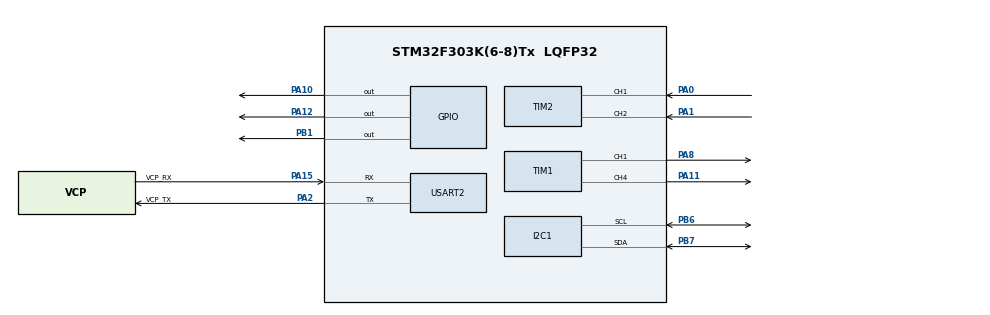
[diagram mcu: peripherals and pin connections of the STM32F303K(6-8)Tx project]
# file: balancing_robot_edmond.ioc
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I2C1.Timing=0x00201D2B
Mcu.Family=STM32F3
Mcu.Name=STM32F303K(6-8)Tx
Mcu.Package=LQFP32
NVIC.PriorityGroup=NVIC_PRIORITYGROUP_4
PA0.Signal=S_TIM2_CH1_ETR
PA1.Signal=S_TIM2_CH2
PA10.Signal=GPIO_Output
PA11.Signal=S_TIM1_CH4
PA12.Signal=GPIO_Output
PA13.GPIO_Label=SWDIO
PA13.Mode=Serial_Wire
PA13.Signal=SYS_JTMS-SWDIO
PA14.GPIO_Label=SWCLK
PA14.Mode=Serial_Wire
PA14.Signal=SYS_JTCK-SWCLK
PA15.GPIO_Label=VCP_RX
PA15.Mode=Asynchronous
PA15.Signal=USART2_RX
PA2.GPIO_Label=VCP_TX
PA2.Mode=Asynchronous
PA2.Signal=USART2_TX
PA8.Signal=S_TIM1_CH1
PB1.Signal=GPIO_Output
PB6.GPIO_Pu=GPIO_PULLUP
PB6.Mode=I2C
PB6.Signal=I2C1_SCL
PB7.GPIO_Pu=GPIO_PULLUP
PB7.Mode=I2C
PB7.Signal=I2C1_SDA
PF0\ /\ OSC_IN.Mode=HSE-External-Clock-Source
PF0\ /\ OSC_IN.Signal=RCC_OSC_IN
ProjectManager.HeapSize=0x200
ProjectManager.StackSize=0x400
ProjectManager.TargetToolchain=STM32CubeIDE
SH.S_TIM1_CH1.0=TIM1_CH1,PWM Generation1 CH1
SH.S_TIM1_CH4.0=TIM1_CH4,PWM Generation4 CH4
SH.S_TIM2_CH1_ETR.0=TIM2_CH1,Encoder_Interface
SH.S_TIM2_CH2.0=TIM2_CH2,Encoder_Interface
TIM1.Channel-PWM\ Generation1\ CH1=TIM_CHANNEL_1
TIM1.Channel-PWM\ Generation4\ CH4=TIM_CHANNEL_4
USART2.VirtualMode-Asynchronous=VM_ASYNC
board=NUCLEO-F303K8

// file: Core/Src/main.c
/* USER CODE BEGIN Header */
/**
  ******************************************************************************
  * @file           : main.c
  * @brief          : Main program body
  ******************************************************************************
  * @attention
  *
  * Copyright (c) 2026 STMicroelectronics.
  * All rights reserved.
  *
  * This software is licensed under terms that can be found in the LICENSE file
  * in the root directory of this software component.
  * If no LICENSE file comes with this software, it is provided AS-IS.
  *
  ******************************************************************************
  */
/* USER CODE END Header */

#include "main.h"

/* USER CODE BEGIN Includes */
#include <stdio.h>
#include <string.h>
#include <stdlib.h>
#include <math.h>
#include <stdbool.h>
#include "mpu6050.h"
#include "fit0450encoder.h"
#include "control.h"
#include "robot_state.h"

//SSD Display
#include "ssd1306.h"
#include "ssd1306_tests.h"

/* USER CODE END Includes */

I2C_HandleTypeDef hi2c1;

TIM_HandleTypeDef htim1;
TIM_HandleTypeDef htim2;

UART_HandleTypeDef huart2;

void SystemClock_Config(void);
static void MX_GPIO_Init(void);
void MX_I2C1_Init(void);
static void MX_TIM1_Init(void);
static void MX_USART2_UART_Init(void);
static void MX_TIM2_Init(void);

int main(void)
{

  /* MCU Configuration--------------------------------------------------------*/

  /* Reset of all peripherals, Initializes the Flash interface and the Systick. */
  HAL_Init();

  /* Configure the system clock */
  SystemClock_Config();

  /* Initialize all configured peripherals */
  MX_GPIO_Init();
  MX_I2C1_Init();
  MX_TIM1_Init();
  MX_USART2_UART_Init();
  MX_TIM2_Init();
  /* USER CODE BEGIN 2 */

  ssd1306_Init();
  MPU6050_Init();

  /* For Manual Calibration Using Jig
  float *resultAccel = getAccelerometerOffsets();
  float AxOffsetError = resultAccel[0];
  float AyOffsetError = resultAccel[1];
  float AzOffsetError = resultAccel[2];

  float *resultGyro = getGyroscopeOffsets();
  float GxOffsetError = resultGyro[0];
  float GyOffsetError = resultGyro[1];
  float GzOffsetError = resultGyro[2];
  */

  //Calibrated Values using Jig
  float AxOffsetError = -0.045f;
  float AyOffsetError = -0.003f;
  float AzOffsetError = -0.018f;
  float GxOffsetError = -4.092f;
  float GyOffsetError = 0.550f;
  float GzOffsetError = -1.389f;

  //Robot State Testing
  robotState_Init(AxOffsetError,AyOffsetError,AzOffsetError,GxOffsetError,GyOffsetError,GzOffsetError);

  //Setting Control Gains from MATLAB
  setControlGains(-0.402994051163913f,	-1.843426576803016f,	8.675976709154341f,	1.132655976543293f);

  //Starting timers for motor control
  HAL_TIM_PWM_Start(&htim1,TIM_CHANNEL_1);
  HAL_TIM_PWM_Start(&htim1,TIM_CHANNEL_4);
  __HAL_TIM_SET_COMPARE(&htim1,TIM_CHANNEL_1,0);
  __HAL_TIM_SET_COMPARE(&htim1,TIM_CHANNEL_4,0);

  //Start Encoder Timer
  HAL_TIM_Encoder_Start(&htim2, TIM_CHANNEL_ALL);

  /* USER CODE END 2 */

  /* Infinite loop */
  while (1)
  {

    /* USER CODE BEGIN 3 */
	  //New Control Loop Testing w/ Fall Detection
	  RobotState state = getRobotState();
	  updateFaceDisplay(state.tipped);
	  if (state.tipped) {
		 setPWMControl(0.0f);
	  } else {
		  float u = computeControlEffort(&state);
		  float duty = computeControlDuty(u, state.v);
		  setPWMControl(duty);
		  //Printing over UART
		  //printRobotState(&state);
	  }

  }
  /* USER CODE END 3 */
}

void SystemClock_Config(void)
{
  RCC_OscInitTypeDef RCC_OscInitStruct = {0};
  RCC_ClkInitTypeDef RCC_ClkInitStruct = {0};
  RCC_PeriphCLKInitTypeDef PeriphClkInit = {0};

  /** Initializes the RCC Oscillators according to the specified parameters
  * in the RCC_OscInitTypeDef structure.
  */
  RCC_OscInitStruct.OscillatorType = RCC_OSCILLATORTYPE_HSI;
  RCC_OscInitStruct.HSIState = RCC_HSI_ON;
  RCC_OscInitStruct.HSICalibrationValue = RCC_HSICALIBRATION_DEFAULT;
  RCC_OscInitStruct.PLL.PLLState = RCC_PLL_NONE;
  if (HAL_RCC_OscConfig(&RCC_OscInitStruct) != HAL_OK)
  {
    Error_Handler();
  }

  /** Initializes the CPU, AHB and APB buses clocks
  */
  RCC_ClkInitStruct.ClockType = RCC_CLOCKTYPE_HCLK|RCC_CLOCKTYPE_SYSCLK
                              |RCC_CLOCKTYPE_PCLK1|RCC_CLOCKTYPE_PCLK2;
  RCC_ClkInitStruct.SYSCLKSource = RCC_SYSCLKSOURCE_HSI;
  RCC_ClkInitStruct.AHBCLKDivider = RCC_SYSCLK_DIV1;
  RCC_ClkInitStruct.APB1CLKDivider = RCC_HCLK_DIV1;
  RCC_ClkInitStruct.APB2CLKDivider = RCC_HCLK_DIV1;

  if (HAL_RCC_ClockConfig(&RCC_ClkInitStruct, FLASH_LATENCY_0) != HAL_OK)
  {
    Error_Handler();
  }
  PeriphClkInit.PeriphClockSelection = RCC_PERIPHCLK_I2C1|RCC_PERIPHCLK_TIM1;
  PeriphClkInit.I2c1ClockSelection = RCC_I2C1CLKSOURCE_HSI;
  PeriphClkInit.Tim1ClockSelection = RCC_TIM1CLK_HCLK;
  if (HAL_RCCEx_PeriphCLKConfig(&PeriphClkInit) != HAL_OK)
  {
    Error_Handler();
  }
}

void MX_I2C1_Init(void)
{

  hi2c1.Instance = I2C1;
  hi2c1.Init.Timing = 0x00201D2B;
  hi2c1.Init.OwnAddress1 = 0;
  hi2c1.Init.AddressingMode = I2C_ADDRESSINGMODE_7BIT;
  hi2c1.Init.DualAddressMode = I2C_DUALADDRESS_DISABLE;
  hi2c1.Init.OwnAddress2 = 0;
  hi2c1.Init.OwnAddress2Masks = I2C_OA2_NOMASK;
  hi2c1.Init.GeneralCallMode = I2C_GENERALCALL_DISABLE;
  hi2c1.Init.NoStretchMode = I2C_NOSTRETCH_DISABLE;
  if (HAL_I2C_Init(&hi2c1) != HAL_OK)
  {
    Error_Handler();
  }

  /** Configure Analogue filter
  */
  if (HAL_I2CEx_ConfigAnalogFilter(&hi2c1, I2C_ANALOGFILTER_ENABLE) != HAL_OK)
  {
    Error_Handler();
  }

  /** Configure Digital filter
  */
  if (HAL_I2CEx_ConfigDigitalFilter(&hi2c1, 0) != HAL_OK)
  {
    Error_Handler();
  }

}

static void MX_TIM1_Init(void)
{

  TIM_MasterConfigTypeDef sMasterConfig = {0};
  TIM_OC_InitTypeDef sConfigOC = {0};
  TIM_BreakDeadTimeConfigTypeDef sBreakDeadTimeConfig = {0};

  htim1.Instance = TIM1;
  htim1.Init.Prescaler = 0;
  htim1.Init.CounterMode = TIM_COUNTERMODE_UP;
  htim1.Init.Period = 65535;
  htim1.Init.ClockDivision = TIM_CLOCKDIVISION_DIV1;
  htim1.Init.RepetitionCounter = 0;
  htim1.Init.AutoReloadPreload = TIM_AUTORELOAD_PRELOAD_DISABLE;
  if (HAL_TIM_PWM_Init(&htim1) != HAL_OK)
  {
    Error_Handler();
  }
  sMasterConfig.MasterOutputTrigger = TIM_TRGO_RESET;
  sMasterConfig.MasterOutputTrigger2 = TIM_TRGO2_RESET;
  sMasterConfig.MasterSlaveMode = TIM_MASTERSLAVEMODE_DISABLE;
  if (HAL_TIMEx_MasterConfigSynchronization(&htim1, &sMasterConfig) != HAL_OK)
  {
    Error_Handler();
  }
  sConfigOC.OCMode = TIM_OCMODE_PWM1;
  sConfigOC.Pulse = 0;
  sConfigOC.OCPolarity = TIM_OCPOLARITY_HIGH;
  sConfigOC.OCNPolarity = TIM_OCNPOLARITY_HIGH;
  sConfigOC.OCFastMode = TIM_OCFAST_DISABLE;
  sConfigOC.OCIdleState = TIM_OCIDLESTATE_RESET;
  sConfigOC.OCNIdleState = TIM_OCNIDLESTATE_RESET;
  if (HAL_TIM_PWM_ConfigChannel(&htim1, &sConfigOC, TIM_CHANNEL_1) != HAL_OK)
  {
    Error_Handler();
  }
  if (HAL_TIM_PWM_ConfigChannel(&htim1, &sConfigOC, TIM_CHANNEL_4) != HAL_OK)
  {
    Error_Handler();
  }
  sBreakDeadTimeConfig.OffStateRunMode = TIM_OSSR_DISABLE;
  sBreakDeadTimeConfig.OffStateIDLEMode = TIM_OSSI_DISABLE;
  sBreakDeadTimeConfig.LockLevel = TIM_LOCKLEVEL_OFF;
  sBreakDeadTimeConfig.DeadTime = 0;
  sBreakDeadTimeConfig.BreakState = TIM_BREAK_DISABLE;
  sBreakDeadTimeConfig.BreakPolarity = TIM_BREAKPOLARITY_HIGH;
  sBreakDeadTimeConfig.BreakFilter = 0;
  sBreakDeadTimeConfig.Break2State = TIM_BREAK2_DISABLE;
  sBreakDeadTimeConfig.Break2Polarity = TIM_BREAK2POLARITY_HIGH;
  sBreakDeadTimeConfig.Break2Filter = 0;
  sBreakDeadTimeConfig.AutomaticOutput = TIM_AUTOMATICOUTPUT_DISABLE;
  if (HAL_TIMEx_ConfigBreakDeadTime(&htim1, &sBreakDeadTimeConfig) != HAL_OK)
  {
    Error_Handler();
  }
  HAL_TIM_MspPostInit(&htim1);

}

static void MX_TIM2_Init(void)
{

  TIM_Encoder_InitTypeDef sConfig = {0};
  TIM_MasterConfigTypeDef sMasterConfig = {0};

  htim2.Instance = TIM2;
  htim2.Init.Prescaler = 0;
  htim2.Init.CounterMode = TIM_COUNTERMODE_UP;
  htim2.Init.Period = 4294967295;
  htim2.Init.ClockDivision = TIM_CLOCKDIVISION_DIV1;
  htim2.Init.AutoReloadPreload = TIM_AUTORELOAD_PRELOAD_DISABLE;
  sConfig.EncoderMode = TIM_ENCODERMODE_TI1;
  sConfig.IC1Polarity = TIM_ICPOLARITY_RISING;
  sConfig.IC1Selection = TIM_ICSELECTION_DIRECTTI;
  sConfig.IC1Prescaler = TIM_ICPSC_DIV1;
  sConfig.IC1Filter = 0;
  sConfig.IC2Polarity = TIM_ICPOLARITY_RISING;
  sConfig.IC2Selection = TIM_ICSELECTION_DIRECTTI;
  sConfig.IC2Prescaler = TIM_ICPSC_DIV1;
  sConfig.IC2Filter = 0;
  if (HAL_TIM_Encoder_Init(&htim2, &sConfig) != HAL_OK)
  {
    Error_Handler();
  }
  sMasterConfig.MasterOutputTrigger = TIM_TRGO_RESET;
  sMasterConfig.MasterSlaveMode = TIM_MASTERSLAVEMODE_DISABLE;
  if (HAL_TIMEx_MasterConfigSynchronization(&htim2, &sMasterConfig) != HAL_OK)
  {
    Error_Handler();
  }

}

static void MX_USART2_UART_Init(void)
{

  huart2.Instance = USART2;
  huart2.Init.BaudRate = 38400;
  huart2.Init.WordLength = UART_WORDLENGTH_8B;
  huart2.Init.StopBits = UART_STOPBITS_1;
  huart2.Init.Parity = UART_PARITY_NONE;
  huart2.Init.Mode = UART_MODE_TX_RX;
  huart2.Init.HwFlowCtl = UART_HWCONTROL_NONE;
  huart2.Init.OverSampling = UART_OVERSAMPLING_16;
  huart2.Init.OneBitSampling = UART_ONE_BIT_SAMPLE_DISABLE;
  huart2.AdvancedInit.AdvFeatureInit = UART_ADVFEATURE_NO_INIT;
  if (HAL_UART_Init(&huart2) != HAL_OK)
  {
    Error_Handler();
  }

}

static void MX_GPIO_Init(void)
{
  GPIO_InitTypeDef GPIO_InitStruct = {0};

  /* GPIO Ports Clock Enable */
  __HAL_RCC_GPIOF_CLK_ENABLE();
  __HAL_RCC_GPIOA_CLK_ENABLE();
  __HAL_RCC_GPIOB_CLK_ENABLE();

  /*Configure GPIO pin Output Level */
  HAL_GPIO_WritePin(GPIOB, GPIO_PIN_1, GPIO_PIN_RESET);

  /*Configure GPIO pin Output Level */
  HAL_GPIO_WritePin(GPIOA, GPIO_PIN_10|GPIO_PIN_12, GPIO_PIN_RESET);

  /*Configure GPIO pin : PB1 */
  GPIO_InitStruct.Pin = GPIO_PIN_1;
  GPIO_InitStruct.Mode = GPIO_MODE_OUTPUT_PP;
  GPIO_InitStruct.Pull = GPIO_NOPULL;
  GPIO_InitStruct.Speed = GPIO_SPEED_FREQ_LOW;
  HAL_GPIO_Init(GPIOB, &GPIO_InitStruct);

  /*Configure GPIO pins : PA10 PA12 */
  GPIO_InitStruct.Pin = GPIO_PIN_10|GPIO_PIN_12;
  GPIO_InitStruct.Mode = GPIO_MODE_OUTPUT_PP;
  GPIO_InitStruct.Pull = GPIO_NOPULL;
  GPIO_InitStruct.Speed = GPIO_SPEED_FREQ_LOW;
  HAL_GPIO_Init(GPIOA, &GPIO_InitStruct);

}

void Error_Handler(void)
{
  __disable_irq();
  while (1)
  {
  }
}
